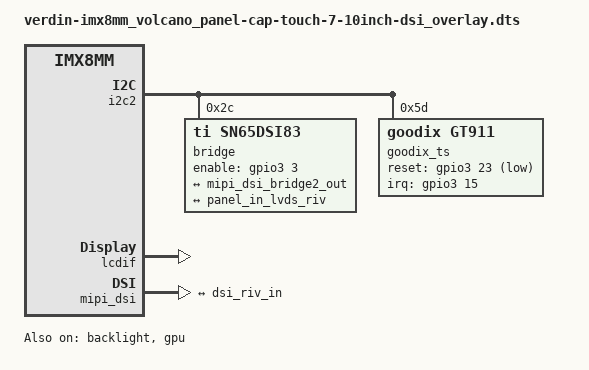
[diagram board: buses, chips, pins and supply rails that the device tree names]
// SPDX-License-Identifier: GPL-2.0-or-later OR MIT
/*
 * Copyright 2023 Toradex
 */

// Verdin iMX8MM with connected DSI Display.

/dts-v1/;
/plugin/;

/ {
	compatible = "toradex,verdin-imx8mm";
};

#include <dt-bindings/interrupt-controller/arm-gic.h>
#include <dt-bindings/gpio/gpio.h>
#include "display-tdo-ts070wsh02ce_overlay.dtsi"

&backlight {
	pwms = <&pwm1 0 6666667 0>;
	status = "okay";
};

&gpu {
	status = "okay";
};

/* Verdin I2C_2_DSI */
&i2c2 {
	#address-cells = <1>;
	#size-cells = <0>;
	status = "okay";

	bridge@2c {
		compatible = "ti,sn65dsi83";
		reg = <0x2c>;
		/* IRQ not connected */
		/* Verdin GPIO_10_DSI (SODIMM 21) */
		enable-gpios = <&gpio3 3 GPIO_ACTIVE_HIGH>;
		pinctrl-names = "default";
		pinctrl-0 = <&pinctrl_gpio_10_dsi>;

		ports {
			#address-cells = <1>;
			#size-cells = <0>;

			port@0 {
				reg = <0>;

				dsi_riv_in: endpoint {
					data-lanes = <1 2 3 4>;
					remote-endpoint = <&mipi_dsi_bridge2_out>;
				};
			};

			port@2 {
				reg = <2>;

				lvds_out_panel_riv: endpoint {
					remote-endpoint = <&panel_in_lvds_riv>;
				};
			};
		};
	};

    /* Goodix GT911 controller touchscreen */
    goodix_ts: gt911@5d {
        compatible = "goodix,gt911";
        reg = <0x5d>;
		/* Verdin DSI_1_INT# (TOUCH_INT#, SODIMM 17) */
        interrupt-parent = <&gpio3>;
        interrupts = <15 IRQ_TYPE_EDGE_RISING>;
		pinctrl-names = "default";
		pinctrl-0 = <&pinctrl_gpio_9_dsi>, <&pinctrl_i2s_2_bclk_touch_reset>;
		/* Verdin I2S_2_BCLK (TOUCH_RESET#, SODIMM 42) */
		reset-gpios = <&gpio3 23 GPIO_ACTIVE_LOW>;
        status = "okay";
    };
};

&lcdif {
	status = "okay";
};

&mipi_dsi {
	#address-cells = <1>;
	#size-cells = <0>;
	status = "okay";

	port@1 {
		mipi_dsi_bridge2_out: endpoint {
			attach-bridge;
			remote-endpoint = <&dsi_riv_in>;
		};
	};
};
